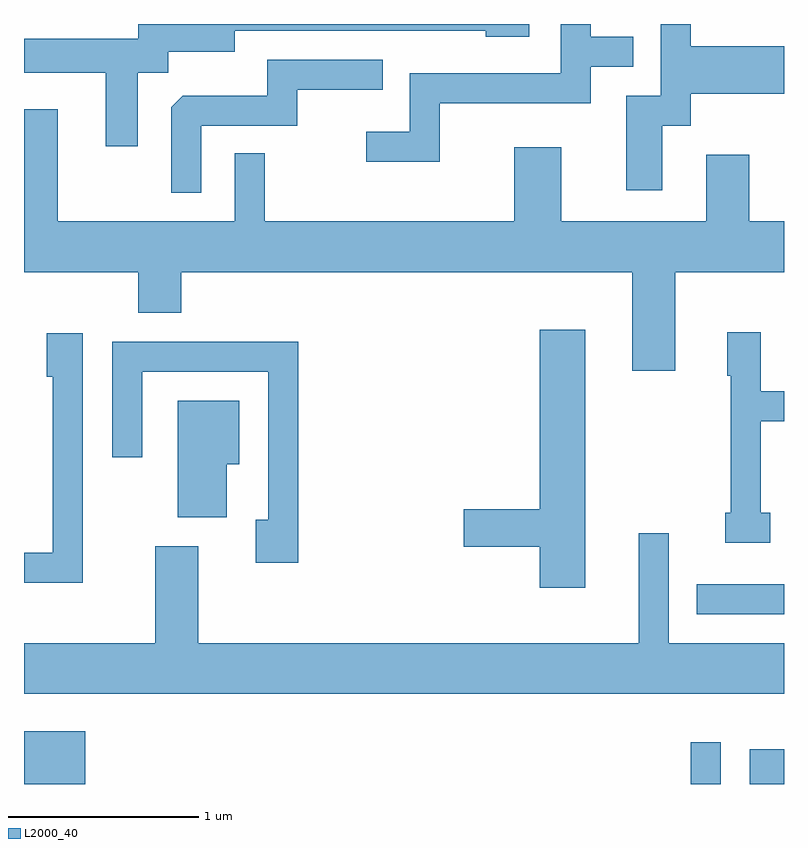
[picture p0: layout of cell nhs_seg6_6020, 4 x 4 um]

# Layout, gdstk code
import gdstk
lib = gdstk.Library(unit=1e-6, precision=1e-09)
def R(c, l, rs):  # rectangles x0, y0, x1, y1
    for r in rs: c.add(gdstk.rectangle(r[:2], r[2:], *l))
def P(c, l, *ps):  # polygons
    for p in ps: c.add(gdstk.Polygon(p, *l))
L2000_40 = (2000, 40)

nhs_seg6_6020 = lib.new_cell('nhs_seg6_6020')
R(nhs_seg6_6020, L2000_40, [(367.611,1616.162,367.934,1616.439), (371.121,1616.162,371.279,1616.383), (371.431,1616.162,371.611,1616.344), (371.153,1617.056,371.611,1617.214)])
P(nhs_seg6_6020, L2000_40, [(369.799,1619.746),(370.594,1619.746),(370.594,1619.936),(370.818,1619.936),(370.818,1620.094),(370.594,1620.094),(370.594,1620.162),(370.436,1620.162),(370.436,1619.904),(369.641,1619.904),(369.641,1619.594),(369.413,1619.594),(369.413,1619.436),(369.799,1619.436)],
  [(368.209,1619.906),(368.369,1619.906),(368.369,1620.016),(368.719,1620.016),(368.719,1620.126),(370.041,1620.126),(370.041,1620.096),(370.269,1620.096),(370.269,1620.162),(368.211,1620.162),(368.211,1620.084),(367.611,1620.084),(367.611,1619.906),(368.041,1619.906),(368.041,1619.518),(368.209,1619.518)],
  [(370.969,1619.626),(371.119,1619.626),(371.119,1619.796),(371.611,1619.796),(371.611,1620.044),(371.119,1620.044),(371.119,1620.162),(370.961,1620.162),(370.961,1619.784),(370.781,1619.784),(370.781,1619.286),(370.969,1619.286)],
  [(368.544,1619.626),(369.049,1619.626),(369.049,1619.816),(369.498,1619.816),(369.498,1619.974),(368.891,1619.974),(368.891,1619.784),(368.447,1619.784),(368.386,1619.724),(368.386,1619.273),(368.544,1619.273)],
  [(371.039,1618.856),(371.611,1618.856),(371.611,1619.124),(371.429,1619.124),(371.429,1619.474),(371.201,1619.474),(371.201,1619.124),(370.439,1619.124),(370.439,1619.514),(370.191,1619.514),(370.191,1619.124),(368.879,1619.124),(368.879,1619.483),(368.721,1619.483),(368.721,1619.124),(367.789,1619.124),(367.789,1619.714),(367.611,1619.714),(367.611,1618.856),(368.211,1618.856),(368.211,1618.641),(368.439,1618.641),(368.439,1618.856),(370.811,1618.856),(370.811,1618.336),(371.039,1618.336)],
  [(370.564,1618.554),(370.326,1618.554),(370.326,1617.609),(369.926,1617.609),(369.926,1617.411),(370.326,1617.411),(370.326,1617.196),(370.564,1617.196)],
  [(371.538,1617.589),(371.489,1617.589),(371.489,1618.071),(371.611,1618.071),(371.611,1618.229),(371.489,1618.229),(371.489,1618.539),(371.311,1618.539),(371.311,1618.311),(371.331,1618.311),(371.331,1617.589),(371.301,1617.589),(371.301,1617.431),(371.538,1617.431)],
  [(367.919,1618.534),(367.731,1618.534),(367.731,1618.306),(367.761,1618.306),(367.761,1617.379),(367.611,1617.379),(367.611,1617.221),(367.919,1617.221)],
  [(369.054,1618.489),(368.076,1618.489),(368.076,1617.883),(368.234,1617.883),(368.234,1618.331),(368.896,1618.331),(368.896,1617.554),(368.831,1617.554),(368.831,1617.326),(369.054,1617.326)],
  [(368.679,1617.846),(368.744,1617.846),(368.744,1618.179),(368.421,1618.179),(368.421,1617.566),(368.679,1617.566)],
  [(371.611,1616.904),(371.004,1616.904),(371.004,1617.483),(370.846,1617.483),(370.846,1616.904),(368.529,1616.904),(368.529,1617.414),(368.301,1617.414),(368.301,1616.904),(367.611,1616.904),(367.611,1616.636),(371.611,1616.636)])

lib.write_gds('nhs_seg6_6020.gds')
